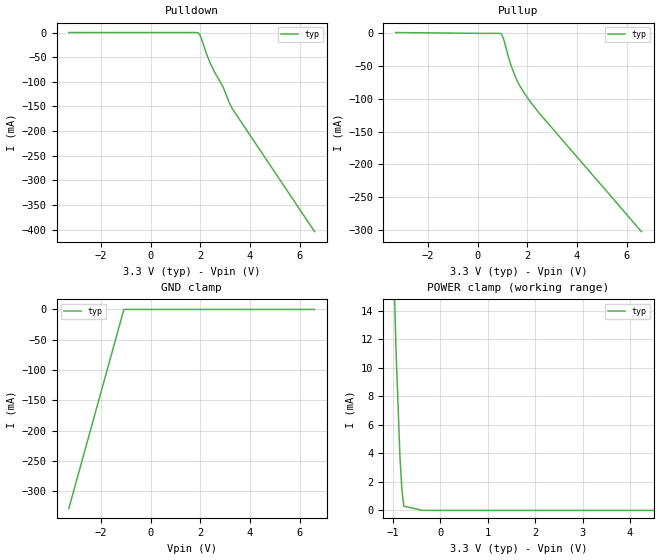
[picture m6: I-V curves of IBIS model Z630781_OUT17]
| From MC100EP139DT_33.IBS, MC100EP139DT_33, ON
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| (C) COPYRIGHT 1993-2000
| MENTOR GRAPHICS CORPORATION
| ICX STANDARD LIBRARY, ICX PROJECT MODELING,
| ICX CUSTOM MODELING, ICX VENDOR MODEL
| ALL RIGHTS RESERVED.
| THE FOLLOWING ARE TRADEMARKS OR SERVICE MARKS OF
| MENTOR GRAPHICS CORPORATION:ICX (R), ICX STANDARD
| LIBRARY(R), ICX PROJECT MODELING(R), ICX CUSTOM
| MODELING(R), qualityIBIS(TM), MODELVIEWER(TM),
| AND MODELEDITOR(TM)
| ALL COPIES OF SOFTWARE, INCLUDING BUT NOT LIMITED TO
| ANY MODIFICATIONS, ENHANCEMENTS OR DERIVATIVE WORKS,
| MUST CONTAIN ALL MENTOR GRAPHICS CORPORATION'S
| NOTICES AND LEGENDS, INCLUDING THOSE EMBEDDED IN
| SOFTWARE AND THOSE AFFIXED TO SOFTWARE MEDIUM
| AND CONTAINER, AS RECEIVED FROM MENTOR GRAPHICS
| CORPORATION.
| Model Application Version 1.89 2/18/99.
[Model] Z630781_OUT17
Model_type Output_ECL
Vref=1.300V
Rref=50.00ohms
Cref=0.000F
Vmeas=1.850V
C_comp 1.000pF NA NA
| variable typ   min   max
[Voltage Range] 3.300V NA NA
[POWER Clamp Reference] 3.300V NA NA
[Pullup Reference] 3.300V NA NA
[Pulldown Reference] 3.300V NA NA
[GND Clamp Reference] 0.000V NA NA
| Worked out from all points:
|   POWER clamp passes 1 mA (typ) near -0.79 V on its own axis
[GND Clamp]
-3.3V     -328.8mA   NA         NA
-1.081V   0A         NA         NA
6.6V      0A         NA         NA
[Pulldown]
-3.3V     0A         NA         NA
1.82V     0A         NA         NA
1.942V    -2.1mA     NA         NA
2.044V    -12.9mA    NA         NA
2.246V    -43.5mA    NA         NA
2.408V    -63.5mA    NA         NA
2.57V     -80.2mA    NA         NA
2.915V    -110.6mA   NA         NA
3.158V    -141.7mA   NA         NA
3.28V     -154.1mA   NA         NA
6.6V      -404.1mA   NA         NA
[Pullup]
-3.3V     1.255mA    NA         NA
934mV     -500uA     NA         NA
974mV     -1.8mA     NA         NA
1.055V    -9.5mA     NA         NA
1.237V    -35.4mA    NA         NA
1.359V    -50.3mA    NA         NA
1.542V    -68.3mA    NA         NA
1.663V    -77.6mA    NA         NA
1.886V    -91.5mA    NA         NA
2.109V    -103.6mA   NA         NA
2.454V    -120.5mA   NA         NA
6.6V      -302.5mA   NA         NA
[POWER Clamp]
-3.3V     362.1mA    NA         NA
-1.053V   25.89mA    NA         NA
-931mV    10.93mA    NA         NA
-850mV    3.662mA    NA         NA
-810mV    1.477mA    NA         NA
-769mV    292.5uA    NA         NA
-384.5mV  0A         NA         NA
6.6V      0A         NA         NA
[Ramp]
| variable typ min max
dV/dt_r 453.4m/117.7p NA NA
dV/dt_f 453.4m/119.3p NA NA
R_load = 50.00Ohms
